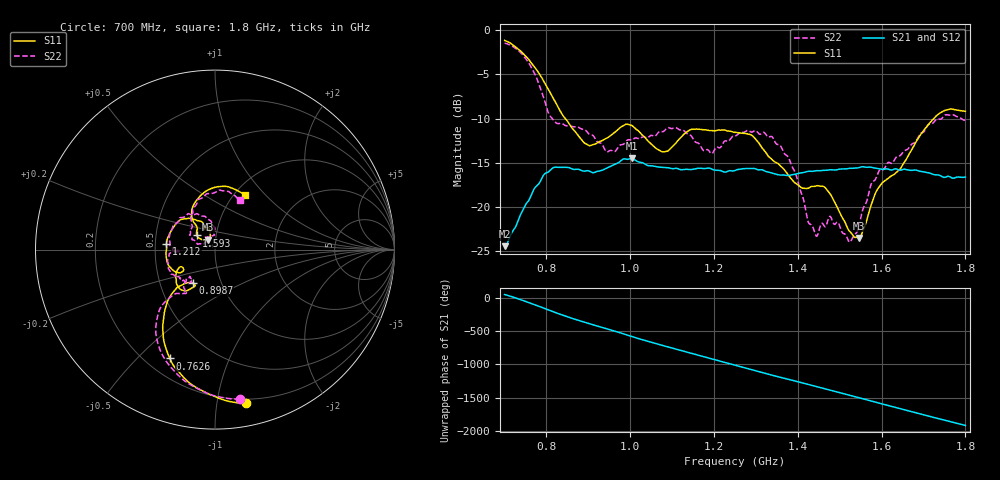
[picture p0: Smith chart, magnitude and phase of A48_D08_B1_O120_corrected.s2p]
! Created with skrf 1.9.0 (http://scikit-rf.org).
# Hz S RI R 50.0
!freq ReS11 ImS11 ReS21 ImS21 ReS12 ImS12 ReS22 ImS22
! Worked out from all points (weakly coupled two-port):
!   1601 points, 700 MHz to 1.8 GHz, reference 50 ohm
!   highest |S21| = -14.50 dB at 1.003 GHz (marker M1); lowest = -24.4 dB at 700.7 MHz (marker M2)
!   lowest |S11| = -23.5 dB at 1.546 GHz (marker M3), VSWR 1.14, Z = 46.1 + j5.1 ohm
!   |S11| at or under -10 dB: 844.8 MHz to 1.724 GHz (879.7 MHz wide, 68.5 % of centre)
!   |S22| runs from -24.0 to -1.5 dB; largest |S21 - S12| = 0.0036
!   S11 on the Smith chart (normalised r, x): 700 MHz: 0.17, -1.21; 762.6 MHz: 0.29, -0.63; 898.7 MHz: 0.73, -0.29; 1.212 GHz: 0.57, +0.04; 1.593 GHz: 0.81, +0.13; 1.8 GHz: 1.11, +0.77
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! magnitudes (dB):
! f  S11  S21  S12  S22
! 700 MHz  -1.2  -24.4  -24.2  -1.5
! 700.7 MHz  -1.2  -24.4  -24.1  -1.5
! 762.6 MHz  -3.7  -18.8  -18.7  -4.1
! 812.8 MHz  -7.4  -15.7  -15.7  -10.0
! 883.6 MHz  -12.4  -15.9  -15.8  -11.2
! 898.7 MHz  -13.0  -15.9  -15.9  -11.6
! 945.4 MHz  -12.2  -15.6  -15.6  -13.8
! 1.003 GHz  -10.8  -14.5  -14.6  -12.4
! 1.067 GHz  -13.5  -15.5  -15.4  -11.6
! 1.212 GHz  -11.3  -15.9  -15.8  -13.3
! 1.25 GHz  -11.6  -15.9  -15.8  -12.0
! 1.358 GHz  -15.3  -16.4  -16.4  -13.0
! 1.394 GHz  -17.3  -16.3  -16.3  -16.1
! 1.434 GHz  -17.7  -16.0  -15.9  -22.1
! 1.445 GHz  -17.6  -15.9  -15.9  -23.3
! 1.478 GHz  -18.5  -15.8  -15.8  -21.1
! 1.524 GHz  -22.8  -15.6  -15.6  -24.0
! 1.546 GHz  -23.5  -15.5  -15.5  -22.1
! 1.593 GHz  -17.8  -15.7  -15.7  -16.0
! 1.617 GHz  -16.7  -15.7  -15.7  -14.9
! 1.733 GHz  -9.6  -16.4  -16.4  -10.0
! 1.8 GHz  -9.2  -16.6  -16.6  -10.2
